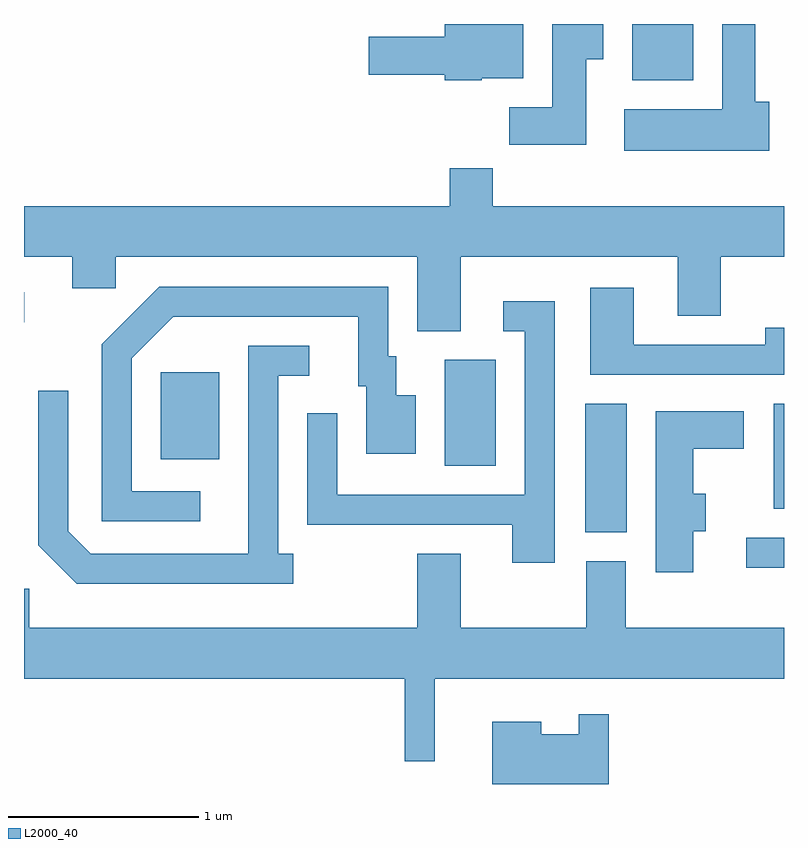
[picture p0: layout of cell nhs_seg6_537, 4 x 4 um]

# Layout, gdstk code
import gdstk
lib = gdstk.Library(unit=1e-6, precision=1e-09)
def R(c, l, rs):  # rectangles x0, y0, x1, y1
    for r in rs: c.add(gdstk.rectangle(r[:2], r[2:], *l))
def P(c, l, *ps):  # polygons
    for p in ps: c.add(gdstk.Polygon(p, *l))
L2000_40 = (2000, 40)

nhs_seg6_537 = lib.new_cell('nhs_seg6_537')
R(nhs_seg6_537, L2000_40, [(205.413,1537.301,205.611,1537.459), (204.566,1537.486,204.784,1538.164), (205.556,1537.611,205.611,1538.164), (203.826,1537.836,204.094,1538.394), (202.331,1537.871,202.639,1538.329), (201.611,1538.591,201.613,1538.749), (204.811,1539.866,205.134,1540.162)])
P(nhs_seg6_537, L2000_40, [(204.02,1539.876),(204.239,1539.876),(204.239,1540.162),(203.826,1540.162),(203.826,1540.094),(203.426,1540.094),(203.426,1539.896),(203.826,1539.896),(203.826,1539.866),(204.02,1539.866)],
  [(205.534,1539.754),(205.459,1539.754),(205.459,1540.162),(205.286,1540.162),(205.286,1539.714),(204.771,1539.714),(204.771,1539.496),(205.534,1539.496)],
  [(204.569,1539.976),(204.659,1539.976),(204.659,1540.162),(204.391,1540.162),(204.391,1539.724),(204.166,1539.724),(204.166,1539.526),(204.569,1539.526)],
  [(203.909,1538.936),(205.051,1538.936),(205.051,1538.626),(205.279,1538.626),(205.279,1538.936),(205.611,1538.936),(205.611,1539.204),(204.079,1539.204),(204.079,1539.404),(203.851,1539.404),(203.851,1539.204),(201.611,1539.204),(201.611,1538.936),(201.866,1538.936),(201.866,1538.771),(202.094,1538.771),(202.094,1538.936),(203.681,1538.936),(203.681,1538.546),(203.909,1538.546)],
  [(202.538,1537.704),(202.179,1537.704),(202.179,1538.404),(202.397,1538.621),(203.371,1538.621),(203.371,1538.256),(203.411,1538.256),(203.411,1537.901),(203.674,1537.901),(203.674,1538.209),(203.569,1538.209),(203.569,1538.414),(203.529,1538.414),(203.529,1538.779),(202.324,1538.779),(202.021,1538.477),(202.021,1537.546),(202.538,1537.546)],
  [(205.611,1538.564),(205.511,1538.564),(205.511,1538.474),(204.819,1538.474),(204.819,1538.774),(204.591,1538.774),(204.591,1538.316),(205.611,1538.316)],
  [(204.404,1538.704),(204.133,1538.704),(204.133,1538.546),(204.246,1538.546),(204.246,1537.684),(203.259,1537.684),(203.259,1538.113),(203.101,1538.113),(203.101,1537.526),(204.181,1537.526),(204.181,1537.326),(204.404,1537.326)],
  [(203.028,1537.374),(202.949,1537.374),(202.949,1538.311),(203.113,1538.311),(203.113,1538.469),(202.791,1538.469),(202.791,1537.374),(201.962,1537.374),(201.844,1537.492),(201.844,1538.233),(201.686,1538.233),(201.686,1537.419),(201.889,1537.216),(203.028,1537.216)],
  [(205.134,1537.491),(205.199,1537.491),(205.199,1537.689),(205.134,1537.689),(205.134,1537.926),(205.399,1537.926),(205.399,1538.124),(204.936,1538.124),(204.936,1537.276),(205.134,1537.276)],
  [(203.774,1536.716),(205.611,1536.716),(205.611,1536.984),(204.779,1536.984),(204.779,1537.334),(204.571,1537.334),(204.571,1536.984),(203.909,1536.984),(203.909,1537.374),(203.681,1537.374),(203.681,1536.984),(201.639,1536.984),(201.639,1537.189),(201.611,1537.189),(201.611,1536.716),(203.616,1536.716),(203.616,1536.283),(203.774,1536.283)],
  [(204.689,1536.528),(204.531,1536.528),(204.531,1536.424),(204.334,1536.424),(204.334,1536.489),(204.076,1536.489),(204.076,1536.162),(204.689,1536.162)])

lib.write_gds('nhs_seg6_537.gds')
